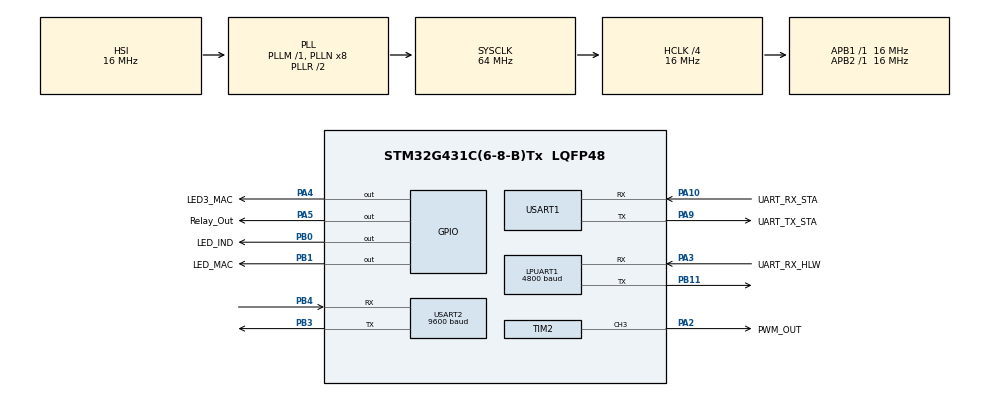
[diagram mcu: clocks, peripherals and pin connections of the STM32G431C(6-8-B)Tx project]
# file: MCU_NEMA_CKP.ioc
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LPUART1.BaudRate=4800
Mcu.Family=STM32G4
Mcu.Name=STM32G431C(6-8-B)Tx
Mcu.Package=LQFP48
NVIC.LPUART1_IRQn=true\:0\:0\:false\:false\:true\:true\:true\:true
NVIC.PriorityGroup=NVIC_PRIORITYGROUP_4
NVIC.USART1_IRQn=true\:0\:0\:false\:false\:true\:true\:true\:true
NVIC.USART2_IRQn=true\:0\:0\:false\:false\:true\:true\:true\:true
PA10.GPIO_Label=UART_RX_STA
PA10.Mode=Asynchronous
PA10.Signal=USART1_RX
PA13.Mode=Serial_Wire
PA13.Signal=SYS_JTMS-SWDIO
PA14.Mode=Serial_Wire
PA14.Signal=SYS_JTCK-SWCLK
PA2.GPIO_Label=PWM_OUT
PA2.Signal=S_TIM2_CH3
PA3.GPIO_Label=UART_RX_HLW
PA3.Mode=Asynchronous
PA3.Signal=LPUART1_RX
PA4.GPIO_Label=LED3_MAC
PA4.Signal=GPIO_Output
PA5.GPIO_Label=Relay_Out
PA5.Signal=GPIO_Output
PA9.GPIO_Label=UART_TX_STA
PA9.Mode=Asynchronous
PA9.Signal=USART1_TX
PB0.GPIO_Label=LED_IND
PB0.Signal=GPIO_Output
PB1.GPIO_Label=LED_MAC
PB1.Signal=GPIO_Output
PB11.Mode=Asynchronous
PB11.Signal=LPUART1_TX
PB3.Mode=Asynchronous
PB3.Signal=USART2_TX
PB4.Mode=Asynchronous
PB4.Signal=USART2_RX
ProjectManager.HeapSize=0x200
ProjectManager.StackSize=0x400
ProjectManager.TargetToolchain=STM32CubeIDE
RCC.ADC12Freq_Value=64000000
RCC.AHBCLKDivider=RCC_SYSCLK_DIV4
RCC.AHBFreq_Value=16000000
RCC.APB1Freq_Value=16000000
RCC.APB1TimFreq_Value=16000000
RCC.APB2Freq_Value=16000000
RCC.APB2TimFreq_Value=16000000
RCC.CortexFreq_Value=16000000
RCC.EXTERNAL_CLOCK_VALUE=12288000
RCC.HCLKFreq_Value=16000000
RCC.HSE_VALUE=8000000
RCC.HSI48_VALUE=48000000
RCC.HSI_VALUE=16000000
RCC.LSE_VALUE=32768
RCC.SYSCLKFreq_VALUE=64000000
RCC.SYSCLKSource=RCC_SYSCLKSOURCE_PLLCLK
RCC.USBFreq_Value=64000000
RCC.VCOOutputFreq_Value=128000000
SH.S_TIM2_CH3.0=TIM2_CH3,PWM Generation3 CH3
TIM2.Channel-PWM\ Generation3\ CH3=TIM_CHANNEL_3
TIM2.PeriodNoDither=15999
USART1.Parity=PARITY_EVEN
USART1.VirtualMode-Asynchronous=VM_ASYNC
USART1.WordLength=WORDLENGTH_9B
USART2.BaudRate=9600
USART2.Parity=PARITY_NONE
USART2.VirtualMode-Asynchronous=VM_ASYNC
VP_SYS_VS_DBSignals.Mode=DisableDeadBatterySignals
VP_TIM2_VS_ClockSourceINT.Mode=Internal
board=custom

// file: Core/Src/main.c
/* USER CODE BEGIN Header */
/**
  ******************************************************************************
  * @file           : main.c
  * @brief          : Main program body
  ******************************************************************************
  * @attention
  *
  * Copyright (c) 2025 STMicroelectronics.
  * All rights reserved.
  *
  * This software is licensed under terms that can be found in the LICENSE file
  * in the root directory of this software component.
  * If no LICENSE file comes with this software, it is provided AS-IS.
  *
  ******************************************************************************
  */
/* USER CODE END Header */
#include "main.h"

/* USER CODE BEGIN Includes */
#include "function.h"
#include <string.h>
#include "stdint.h"
#include "stdio.h"
#include "stdbool.h"
/* USER CODE END Includes */

/* USER CODE BEGIN PD */
#define HLW_READ_INTERVAL_MS    5000    // Baca HLW setiap 5 detik (optional)
/* USER CODE END PD */

UART_HandleTypeDef hlpuart1;
UART_HandleTypeDef huart1;
UART_HandleTypeDef huart2;

TIM_HandleTypeDef htim2;

/* USER CODE BEGIN PV */
static uint32_t last_hlw_read = 0;      // Untuk periodic read (optional)
static bool periodic_hlw_enabled = false; // Set true jika ingin auto-read
/* USER CODE END PV */

void SystemClock_Config(void);
static void MX_GPIO_Init(void);
static void MX_LPUART1_UART_Init(void);
static void MX_USART2_UART_Init(void);
static void MX_USART1_UART_Init(void);
static void MX_TIM2_Init(void);

int main(void)
{

  /* MCU Configuration--------------------------------------------------------*/

  /* Reset of all peripherals, Initializes the Flash interface and the Systick. */
  HAL_Init();

  /* Configure the system clock */
  SystemClock_Config();

  /* Initialize all configured peripherals */
  MX_GPIO_Init();
  MX_LPUART1_UART_Init();
  MX_USART2_UART_Init();
  MX_USART1_UART_Init();
  MX_TIM2_Init();
  /* USER CODE BEGIN 2 */
  UART_ConfigurePriorities();
  HAL_TIM_PWM_Start(&htim2, TIM_CHANNEL_3);
  UART1_StartUart();
  HLW_Init();
  UART_GPS_Init();
  HAL_Delay(1500);
  UART_STA_SendRaw("+++");
  HAL_Delay(5000);
  bool mac_status_cco = Get_CCO_Mac();  // Coba 3x
    if (mac_status_cco) {
        // Berhasil dapat MAC
    	bool mac_status = Save_Mac();
    	if (mac_status){
            HAL_GPIO_TogglePin(LED3_MAC_Port, LED3_MAC_Pin);
            HAL_Delay(100);
    	} else {
            // Gagal dapat MAC setelah 3x percobaan
            blinkLED(LED_IND_Port, LED_IND_Pin, 3, 100);
        }
    } else {
        // Gagal dapat MAC setelah 3x percobaan
    	bool mac_status = Save_Mac();
        blinkLED(LED_IND_Port, LED_IND_Pin, 3, 100);
    }
  HAL_Delay(300);
  if (HLW_ReadData())
  {
      // Sukses baca HLW!
	  HAL_GPIO_TogglePin(LED_IND_Port, LED_IND_Pin);
  }
  else
  {
      // Gagal baca (timeout)
      blinkLED(LED_IND_Port, LED_IND_Pin, 2, 100);
  }

  /* USER CODE END 2 */

  /* Infinite loop */
  /* USER CODE BEGIN WHILE */
  while (1)
  {
	  ProcessRecv();
      Set_PWM1_Duty(dutytest);
      GPS_ProcessData(true);
      HLW_ReadData();
    /* USER CODE END WHILE */

  }
}

void SystemClock_Config(void)
{
  RCC_OscInitTypeDef RCC_OscInitStruct = {0};
  RCC_ClkInitTypeDef RCC_ClkInitStruct = {0};

  /** Configure the main internal regulator output voltage
  */
  HAL_PWREx_ControlVoltageScaling(PWR_REGULATOR_VOLTAGE_SCALE1);

  /** Initializes the RCC Oscillators according to the specified parameters
  * in the RCC_OscInitTypeDef structure.
  */
  RCC_OscInitStruct.OscillatorType = RCC_OSCILLATORTYPE_HSI;
  RCC_OscInitStruct.HSIState = RCC_HSI_ON;
  RCC_OscInitStruct.HSICalibrationValue = RCC_HSICALIBRATION_DEFAULT;
  RCC_OscInitStruct.PLL.PLLState = RCC_PLL_ON;
  RCC_OscInitStruct.PLL.PLLSource = RCC_PLLSOURCE_HSI;
  RCC_OscInitStruct.PLL.PLLM = RCC_PLLM_DIV1;
  RCC_OscInitStruct.PLL.PLLN = 8;
  RCC_OscInitStruct.PLL.PLLP = RCC_PLLP_DIV2;
  RCC_OscInitStruct.PLL.PLLQ = RCC_PLLQ_DIV2;
  RCC_OscInitStruct.PLL.PLLR = RCC_PLLR_DIV2;
  if (HAL_RCC_OscConfig(&RCC_OscInitStruct) != HAL_OK)
  {
    Error_Handler();
  }

  /** Initializes the CPU, AHB and APB buses clocks
  */
  RCC_ClkInitStruct.ClockType = RCC_CLOCKTYPE_HCLK|RCC_CLOCKTYPE_SYSCLK
                              |RCC_CLOCKTYPE_PCLK1|RCC_CLOCKTYPE_PCLK2;
  RCC_ClkInitStruct.SYSCLKSource = RCC_SYSCLKSOURCE_PLLCLK;
  RCC_ClkInitStruct.AHBCLKDivider = RCC_SYSCLK_DIV4;
  RCC_ClkInitStruct.APB1CLKDivider = RCC_HCLK_DIV1;
  RCC_ClkInitStruct.APB2CLKDivider = RCC_HCLK_DIV1;

  if (HAL_RCC_ClockConfig(&RCC_ClkInitStruct, FLASH_LATENCY_0) != HAL_OK)
  {
    Error_Handler();
  }
}

static void MX_LPUART1_UART_Init(void)
{

  hlpuart1.Instance = LPUART1;
  hlpuart1.Init.BaudRate = 4800;
  hlpuart1.Init.WordLength = UART_WORDLENGTH_8B;
  hlpuart1.Init.StopBits = UART_STOPBITS_1;
  hlpuart1.Init.Parity = UART_PARITY_NONE;
  hlpuart1.Init.Mode = UART_MODE_TX_RX;
  hlpuart1.Init.HwFlowCtl = UART_HWCONTROL_NONE;
  hlpuart1.Init.OneBitSampling = UART_ONE_BIT_SAMPLE_DISABLE;
  hlpuart1.Init.ClockPrescaler = UART_PRESCALER_DIV1;
  hlpuart1.AdvancedInit.AdvFeatureInit = UART_ADVFEATURE_NO_INIT;
  if (HAL_UART_Init(&hlpuart1) != HAL_OK)
  {
    Error_Handler();
  }
  if (HAL_UARTEx_SetTxFifoThreshold(&hlpuart1, UART_TXFIFO_THRESHOLD_1_8) != HAL_OK)
  {
    Error_Handler();
  }
  if (HAL_UARTEx_SetRxFifoThreshold(&hlpuart1, UART_RXFIFO_THRESHOLD_1_8) != HAL_OK)
  {
    Error_Handler();
  }
  if (HAL_UARTEx_DisableFifoMode(&hlpuart1) != HAL_OK)
  {
    Error_Handler();
  }

}

static void MX_USART1_UART_Init(void)
{

  huart1.Instance = USART1;
  huart1.Init.BaudRate = 115200;
  huart1.Init.WordLength = UART_WORDLENGTH_9B;
  huart1.Init.StopBits = UART_STOPBITS_1;
  huart1.Init.Parity = UART_PARITY_EVEN;
  huart1.Init.Mode = UART_MODE_TX_RX;
  huart1.Init.HwFlowCtl = UART_HWCONTROL_NONE;
  huart1.Init.OverSampling = UART_OVERSAMPLING_16;
  huart1.Init.OneBitSampling = UART_ONE_BIT_SAMPLE_DISABLE;
  huart1.Init.ClockPrescaler = UART_PRESCALER_DIV1;
  huart1.AdvancedInit.AdvFeatureInit = UART_ADVFEATURE_NO_INIT;
  if (HAL_UART_Init(&huart1) != HAL_OK)
  {
    Error_Handler();
  }
  if (HAL_UARTEx_SetTxFifoThreshold(&huart1, UART_TXFIFO_THRESHOLD_1_8) != HAL_OK)
  {
    Error_Handler();
  }
  if (HAL_UARTEx_SetRxFifoThreshold(&huart1, UART_RXFIFO_THRESHOLD_1_8) != HAL_OK)
  {
    Error_Handler();
  }
  if (HAL_UARTEx_DisableFifoMode(&huart1) != HAL_OK)
  {
    Error_Handler();
  }

}

static void MX_USART2_UART_Init(void)
{

  huart2.Instance = USART2;
  huart2.Init.BaudRate = 9600;
  huart2.Init.WordLength = UART_WORDLENGTH_8B;
  huart2.Init.StopBits = UART_STOPBITS_1;
  huart2.Init.Parity = UART_PARITY_NONE;
  huart2.Init.Mode = UART_MODE_TX_RX;
  huart2.Init.HwFlowCtl = UART_HWCONTROL_NONE;
  huart2.Init.OverSampling = UART_OVERSAMPLING_16;
  huart2.Init.OneBitSampling = UART_ONE_BIT_SAMPLE_DISABLE;
  huart2.Init.ClockPrescaler = UART_PRESCALER_DIV1;
  huart2.AdvancedInit.AdvFeatureInit = UART_ADVFEATURE_NO_INIT;
  if (HAL_UART_Init(&huart2) != HAL_OK)
  {
    Error_Handler();
  }
  if (HAL_UARTEx_SetTxFifoThreshold(&huart2, UART_TXFIFO_THRESHOLD_1_8) != HAL_OK)
  {
    Error_Handler();
  }
  if (HAL_UARTEx_SetRxFifoThreshold(&huart2, UART_RXFIFO_THRESHOLD_1_8) != HAL_OK)
  {
    Error_Handler();
  }
  if (HAL_UARTEx_DisableFifoMode(&huart2) != HAL_OK)
  {
    Error_Handler();
  }

}

static void MX_TIM2_Init(void)
{

  TIM_ClockConfigTypeDef sClockSourceConfig = {0};
  TIM_MasterConfigTypeDef sMasterConfig = {0};
  TIM_OC_InitTypeDef sConfigOC = {0};

  htim2.Instance = TIM2;
  htim2.Init.Prescaler = 0;
  htim2.Init.CounterMode = TIM_COUNTERMODE_UP;
  htim2.Init.Period = 15999;
  htim2.Init.ClockDivision = TIM_CLOCKDIVISION_DIV1;
  htim2.Init.AutoReloadPreload = TIM_AUTORELOAD_PRELOAD_DISABLE;
  if (HAL_TIM_Base_Init(&htim2) != HAL_OK)
  {
    Error_Handler();
  }
  sClockSourceConfig.ClockSource = TIM_CLOCKSOURCE_INTERNAL;
  if (HAL_TIM_ConfigClockSource(&htim2, &sClockSourceConfig) != HAL_OK)
  {
    Error_Handler();
  }
  if (HAL_TIM_PWM_Init(&htim2) != HAL_OK)
  {
    Error_Handler();
  }
  sMasterConfig.MasterOutputTrigger = TIM_TRGO_RESET;
  sMasterConfig.MasterSlaveMode = TIM_MASTERSLAVEMODE_DISABLE;
  if (HAL_TIMEx_MasterConfigSynchronization(&htim2, &sMasterConfig) != HAL_OK)
  {
    Error_Handler();
  }
  sConfigOC.OCMode = TIM_OCMODE_PWM1;
  sConfigOC.Pulse = 0;
  sConfigOC.OCPolarity = TIM_OCPOLARITY_HIGH;
  sConfigOC.OCFastMode = TIM_OCFAST_DISABLE;
  if (HAL_TIM_PWM_ConfigChannel(&htim2, &sConfigOC, TIM_CHANNEL_3) != HAL_OK)
  {
    Error_Handler();
  }
  HAL_TIM_MspPostInit(&htim2);

}

static void MX_GPIO_Init(void)
{
  GPIO_InitTypeDef GPIO_InitStruct = {0};

  /* GPIO Ports Clock Enable */
  __HAL_RCC_GPIOA_CLK_ENABLE();
  __HAL_RCC_GPIOB_CLK_ENABLE();

  /*Configure GPIO pin Output Level */
  HAL_GPIO_WritePin(GPIOA, LED3_MAC_Pin|Relay_Out_Pin, GPIO_PIN_RESET);

  /*Configure GPIO pin Output Level */
  HAL_GPIO_WritePin(GPIOB, LED_IND_Pin|LED_MAC_Pin, GPIO_PIN_RESET);

  /*Configure GPIO pins : LED3_MAC_Pin Relay_Out_Pin */
  GPIO_InitStruct.Pin = LED3_MAC_Pin|Relay_Out_Pin;
  GPIO_InitStruct.Mode = GPIO_MODE_OUTPUT_PP;
  GPIO_InitStruct.Pull = GPIO_NOPULL;
  GPIO_InitStruct.Speed = GPIO_SPEED_FREQ_LOW;
  HAL_GPIO_Init(GPIOA, &GPIO_InitStruct);

  /*Configure GPIO pins : LED_IND_Pin LED_MAC_Pin */
  GPIO_InitStruct.Pin = LED_IND_Pin|LED_MAC_Pin;
  GPIO_InitStruct.Mode = GPIO_MODE_OUTPUT_PP;
  GPIO_InitStruct.Pull = GPIO_NOPULL;
  GPIO_InitStruct.Speed = GPIO_SPEED_FREQ_LOW;
  HAL_GPIO_Init(GPIOB, &GPIO_InitStruct);

}

void Error_Handler(void)
{
  __disable_irq();
  while (1)
  {
  }
}
